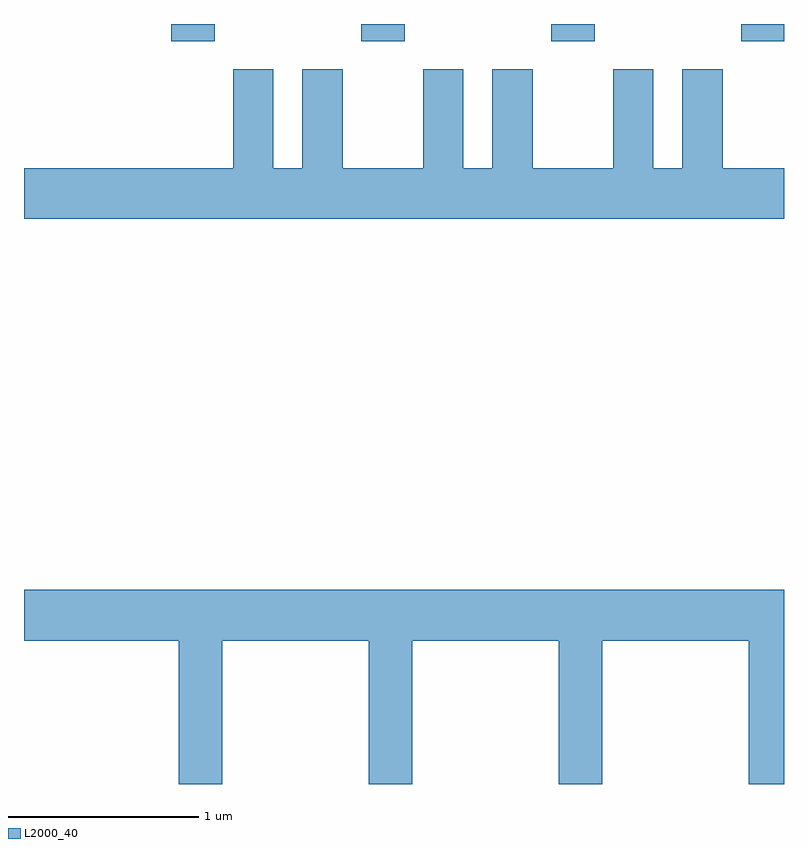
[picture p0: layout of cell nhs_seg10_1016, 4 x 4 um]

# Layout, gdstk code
import gdstk
lib = gdstk.Library(unit=1e-6, precision=1e-09)
def R(c, l, rs):  # rectangles x0, y0, x1, y1
    for r in rs: c.add(gdstk.rectangle(r[:2], r[2:], *l))
def A(c, l, x, y, w, h, nx, ny, dx, dy):  # array of equal rectangles
    R(c, l, [(x+i*dx, y+j*dy, x+i*dx+w, y+j*dy+h) for i in range(nx) for j in range(ny)])
def P(c, l, *ps):  # polygons
    for p in ps: c.add(gdstk.Polygon(p, *l))
L2000_40 = (2000, 40)

nhs_seg10_1016 = lib.new_cell('nhs_seg10_1016')
A(nhs_seg10_1016, L2000_40, 216.386, 2090.431, 0.228, 0.091, 3, 1, 1, 0)
R(nhs_seg10_1016, L2000_40, [(219.386,2090.431,219.611,2090.522)])
P(nhs_seg10_1016, L2000_40, [(219.611,2089.764),(219.289,2089.764),(219.289,2090.284),(219.076,2090.284),(219.076,2089.764),(218.924,2089.764),(218.924,2090.284),(218.711,2090.284),(218.711,2089.764),(218.289,2089.764),(218.289,2090.284),(218.076,2090.284),(218.076,2089.764),(217.924,2089.764),(217.924,2090.284),(217.711,2090.284),(217.711,2089.764),(217.289,2089.764),(217.289,2090.284),(217.076,2090.284),(217.076,2089.764),(216.924,2089.764),(216.924,2090.284),(216.711,2090.284),(216.711,2089.764),(215.611,2089.764),(215.611,2089.496),(219.611,2089.496)],
  [(216.654,2087.276),(217.426,2087.276),(217.426,2086.522),(217.654,2086.522),(217.654,2087.276),(218.426,2087.276),(218.426,2086.522),(218.654,2086.522),(218.654,2087.276),(219.426,2087.276),(219.426,2086.522),(219.611,2086.522),(219.611,2087.544),(215.611,2087.544),(215.611,2087.276),(216.426,2087.276),(216.426,2086.522),(216.654,2086.522)])

lib.write_gds('nhs_seg10_1016.gds')
